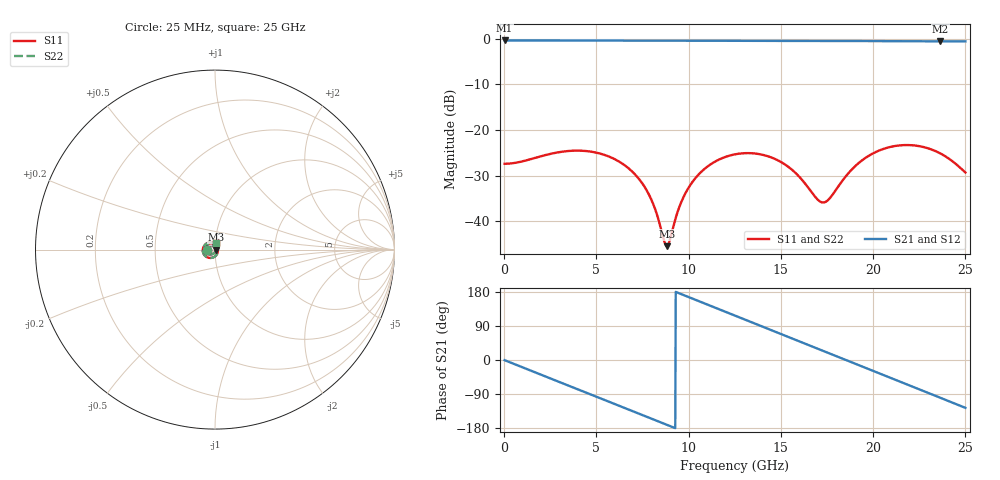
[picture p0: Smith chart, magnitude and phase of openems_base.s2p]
! thru_RG_ts6p_L4: 2×thru, L4, 8 mm
! stackup: ThunderScope Rev5.3 6-layer with the In2 plane
! ports: 1, 2
! openEMS 0.37.0, staircase, base mesh (dfine 0.07 mm), 136955 cells
# Hz S RI R 50
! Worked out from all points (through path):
!   1000 points, 25 MHz to 25 GHz, reference 50 ohm
!   highest |S21| = -0.38 dB at 25 MHz (marker M1); lowest = -0.6 dB at 23.65 GHz (marker M2)
!   group delay of S21, straight-line fit = 54 ps
!   lowest |S11| = -45.5 dB at 8.825 GHz (marker M3), VSWR 1.01, Z = 50.5 - j0.115 ohm
!   |S11| at or under -10 dB: start of sweep to end of sweep
!   |S22| runs from -45.5 to -23.3 dB; largest |S21 - S12| = 0
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2.5e7  -0.0426 -8e-05  0.9573 -0.0081  0.9573 -0.0081  -0.0426 -8e-05
1.9e9  -0.0509 -0.000698  0.7657 -0.5739  0.7657 -0.5739  -0.0509 -0.000698
3.1e9  -0.0569 0.00973  0.4764 -0.829  0.4764 -0.829  -0.0569 0.00973
4.2e9  -0.054 0.0245  0.1425 -0.9446  0.1425 -0.9446  -0.054 0.0245
5.475e9  -0.0373 0.0377  -0.2645 -0.9171  -0.2645 -0.9171  -0.0373 0.0377
6.825e9  -0.0117 0.0349  -0.6414 -0.7066  -0.6414 -0.7066  -0.0117 0.0349
7.725e9  0.00152 0.0218  -0.8238 -0.4817  -0.8238 -0.4817  0.00152 0.0218
8.35e9  0.00561 0.00909  -0.9066 -0.2976  -0.9066 -0.2976  0.00561 0.00909
8.825e9  0.00522 -0.00113  -0.9425 -0.1482  -0.9425 -0.1482  0.00522 -0.00113
9.6e9  -0.00198 -0.0161  -0.948 0.1019  -0.948 0.1019  -0.00198 -0.0161
1.025e10  -0.0131 -0.0245  -0.9019 0.3067  -0.9019 0.3067  -0.0131 -0.0245
1.1275e10  -0.0346 -0.0258  -0.742 0.5947  -0.742 0.5947  -0.0346 -0.0258
1.2525e10  -0.0536 -0.00803  -0.4311 0.8449  -0.4311 0.8449  -0.0536 -0.00803
1.455e10  -0.0384 0.0311  0.2 0.9248  0.2 0.9248  -0.0384 0.0311
1.565e10  -0.012 0.0339  0.5231 0.7884  0.5231 0.7884  -0.012 0.0339
1.6675e10  0.00943 0.0184  0.761 0.5623  0.761 0.5623  0.00943 0.0184
1.7425e10  0.0163 -0.000853  0.8783 0.3514  0.8783 0.3514  0.0163 -0.000853
1.8725e10  0.00368 -0.0346  0.9425 -0.0601  0.9425 -0.0601  0.00368 -0.0346
2.085e10  -0.0536 -0.0361  0.6617 -0.6664  0.6617 -0.6664  -0.0536 -0.0361
2.2275e10  -0.0675 0.00323  0.274 -0.8951  0.274 -0.8951  -0.0675 0.00323
2.365e10  -0.0414 0.0367  -0.1592 -0.9215  -0.1592 -0.9215  -0.0414 0.0367
2.5e10  0.0037 0.0341  -0.5536 -0.7541  -0.5536 -0.7541  0.0037 0.0341
